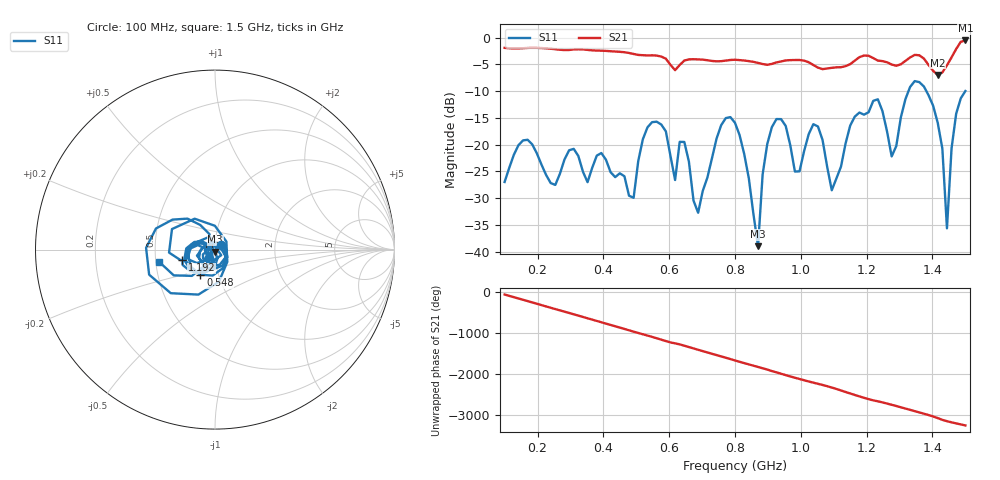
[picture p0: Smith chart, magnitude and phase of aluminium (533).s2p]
! NanoVNA-App
! Date: 2025-09-25 14:59:26
! Start: 100MHz Stop: 1,5GHz Points: 101
! S-Parameter data: F S11 S21 S12 S22
# Hz S RI R 50
!  Frequency  S11_Real  S11_Imag  S21_Real  S21_Imag  S12_Real  S12_Imag  S22_Real  S22_Imag
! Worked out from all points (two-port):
!   101 points, 100 MHz to 1.5 GHz, reference 50 ohm
!   highest |S21| = -0.53 dB at 1.5 GHz (marker M1); lowest = -7.0 dB at 1.416 GHz (marker M2)
!   |S21| within 3 dB of the highest: start of sweep to 575.3 MHz; 1.459 GHz to end of sweep (the widest 2 of 4)
!   lowest |S11| = -38.9 dB at 870 MHz (marker M3), VSWR 1.02, Z = 50.1 - j1.12 ohm
!   |S11| at or under -10 dB: start of sweep to 1.327 GHz; 1.381 GHz to 1.5 GHz (118.3 MHz wide, 8.21 % of centre)
!   S12 and S22 are empty: the file has one direction only
!   S11 on the Smith chart (normalised r, x): 100 MHz: 1.07, +0.06; 548 MHz: 0.82, -0.24; 1.192 GHz: 0.69, -0.08; 1.5 GHz: 0.52, -0.08
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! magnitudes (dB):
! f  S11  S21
! 100 MHz  -27.0  -1.9
! 170 MHz  -19.1  -1.9
! 338 MHz  -25.0  -2.2
! 492 MHz  -29.9  -3.1
! 548 MHz  -15.8  -3.3
! 576 MHz  -16.2  -3.5
! 618 MHz  -26.6  -6.1
! 646 MHz  -19.5  -4.3
! 688 MHz  -32.7  -4.1
! 800 MHz  -15.9  -4.1
! 870 MHz  -38.9  -4.7
! 912 MHz  -16.7  -4.9
! 996 MHz  -25.0  -4.2
! 1.038 GHz  -16.2  -5.1
! 1.094 GHz  -28.5  -5.7
! 1.192 GHz  -14.4  -3.4
! 1.276 GHz  -22.2  -5.0
! 1.346 GHz  -8.1  -3.2
! 1.416 GHz  -15.9  -7.0
! 1.444 GHz  -35.6  -5.2
! 1.472 GHz  -14.2  -2.1
! 1.5 GHz  -10.0  -0.5
